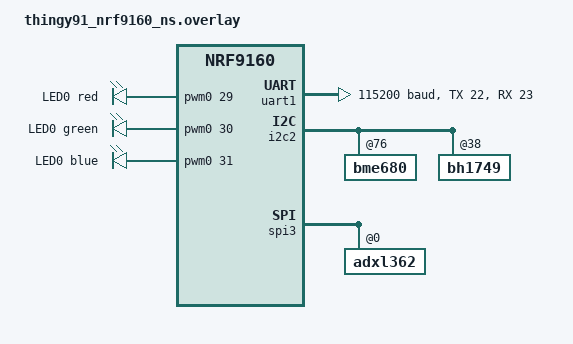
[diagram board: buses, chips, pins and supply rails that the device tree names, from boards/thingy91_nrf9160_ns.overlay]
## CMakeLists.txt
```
cmake_minimum_required(VERSION 3.20.0)

# We are only building for one board
set(BOARD thingy91_nrf9160_ns)

# If CONF_FILE is set then boards/${BOARD}.conf is not automatically merged anymore!
# Therefore only use OVERLAY_CONFIG
list(APPEND OVERLAY_CONFIG "overlay-credentials.conf")
list(APPEND OVERLAY_CONFIG "overlay-memfault.conf")
list(APPEND OVERLAY_CONFIG "overlay-watchdog.conf")

find_package(Zephyr REQUIRED HINTS $ENV{ZEPHYR_BASE})
project(heaty_nrf9160)

target_sources(app PRIVATE
	src/main.c
	src/control.c
	src/shell_commands.c
	)

target_sources_ifdef(CONFIG_SENSORS91_MODULE app PRIVATE
	src/sensors/sensors_module.c
	src/sensors/sensors_module_event.c
	)
	
target_sources_ifdef(CONFIG_ANALYSIS_MODULE app PRIVATE
	src/analysis/analysis_module.c
	src/analysis/analysis_module_event.c
	)
	
	
target_sources_ifdef(CONFIG_NRF_MODEM_LIB app PRIVATE
	src/https_client.c
	)

add_subdirectory_ifdef(CONFIG_USB_NRF9160_BRIDGE_AVAILABLE src/commCtrl/bridge/events)
add_subdirectory_ifdef(CONFIG_USB_NRF9160_BRIDGE_AVAILABLE src/commCtrl/bridge/modules)

target_sources_ifdef(CONFIG_COMMCTRL_MODULE app PRIVATE
	src/commCtrl/commCtrl_module.c
	src/commCtrl/commCtrl_module_event.c
	)

zephyr_library_include_directories(src/commCtrl/bridge/events)

add_subdirectory(../modules build)

zephyr_include_directories(../common)
zephyr_include_directories(config)
zephyr_include_directories(config/${BOARD})
zephyr_include_directories(src/sensors)
zephyr_include_directories(/opt/nordic/ncs/v1.8.0/nrfxlib/nrf_modem/include)
zephyr_include_directories(../nrf52840/src)
zephyr_include_directories(src)

# for some reason this is only applied if written in this top level CMakeLists.txt
# Did not work with the CMakeLists.txt in the lodepng module!
add_compile_definitions(
#	LODEPNG_NO_COMPILE_ZLIB 
#	LODEPNG_NO_COMPILE_DECODER 
	LODEPNG_NO_COMPILE_DISK 
	LODEPNG_NO_COMPILE_ANCILLARY_CHUNKS 
	LODEPNG_NO_COMPILE_ERROR_TEXT 
	LODEPNG_NO_COMPILE_ALLOCATORS
)

zephyr_library_compile_options(-Wall -Wextra -Wno-unused-parameter -Wno-unused-variable -Wno-comment)
```

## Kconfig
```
#
# Copyright (c) 2020 Nordic Semiconductor ASA
#
# SPDX-License-Identifier: LicenseRef-Nordic-5-Clause
#

rsource "../modules/Kconfig.myModules"

rsource "src/sensors/Kconfig.sensors_module"
rsource "src/analysis/Kconfig.analysis_module"


menu "Zephyr Kernel"
source "Kconfig.zephyr"
endmenu

module = HEATY
module-str = Heaty nrf9160
source "${ZEPHYR_BASE}/subsys/logging/Kconfig.template.log_config"
```

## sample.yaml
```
sample:
  description: Hello World sample, the simplest Zephyr
    application
  name: hello world
common:
    tags: introduction
    integration_platforms:
      - native_posix
    harness: console
    harness_config:
      type: one_line
      regex:
        - "Hello World! (.*)"
tests:
  sample.basic.helloworld:
    tags: introduction
  sample.basic.helloworld.uefi:
    platform_allow: thingy91_nrf9160_ns
    extra_args: CONF_FILE=prj_uefi.conf
```

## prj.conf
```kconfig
### General Configuration
#--------------------
CONFIG_DEBUG=y
CONFIG_USE_SEGGER_RTT=y
CONFIG_NEWLIB_LIBC=y
CONFIG_NEWLIB_LIBC_FLOAT_PRINTF=y
CONFIG_CBPRINTF_FP_SUPPORT=y
CONFIG_FPU=y
CONFIG_HW_STACK_PROTECTION=y
CONFIG_SPEED_OPTIMIZATIONS=y

CONFIG_CMSIS_DSP=y
CONFIG_CMSIS_DSP_STATISTICS=y

### Memory Configuration
#--------------------
# used by mcuboot and various services
CONFIG_SYSTEM_WORKQUEUE_STACK_SIZE=8096
CONFIG_MAIN_STACK_SIZE=4096
CONFIG_SHELL_STACK_SIZE=4096
#CONFIG_LOG_PROCESS_THREAD_STACK_SIZE=4096

CONFIG_HEAP_MEM_POOL_SIZE=46000

##############################
### Application features
##############################
CONFIG_BASE64=y
CONFIG_CJSON_LIB=y
CONFIG_LODEPNG=y
CONFIG_HEAP_MEMORY_STATISTICS=y
CONFIG_MCU_EXCHANGE_MODULE=y
CONFIG_ANALYSIS_MODULE=y
CONFIG_SENSORS91_MODULE=y

### Logging
#--------------------
CONFIG_LOG=y
CONFIG_LOG_BACKEND_UART=y
CONFIG_LOG2_MODE_IMMEDIATE=y
#CONFIG_LOG2_MODE_DEFERRED=y
#CONFIG_LOG_BUFFER_SIZE=2048


CONFIG_HEATY_LOG_LEVEL_DBG=y
CONFIG_SENSORS91_MODULE_LOG_LEVEL_DBG=y
CONFIG_ANALYSIS_MODULE_LOG_LEVEL_DBG=y
CONFIG_DIAG_LOG_LEVEL_DBG=y
CONFIG_MCU_EXCHANGE_MODULE_LOG_LEVEL_DBG=y
CONFIG_MQTT_MODULE_LOG_LEVEL_DBG=y
CONFIG_MEMORY_STAT_LOG_LEVEL_INF=y

CONFIG_CAF_INIT_LOG_SENSOR_EVENTS=y
CONFIG_SENSORS_EVENTS_LOG=y
CONFIG_ANALYSIS_EVENTS_LOG=y
CONFIG_MCU_EXCHANGE_EVENTS_LOG=y
CONFIG_MQTT_EVENTS_LOG=y
# to make "shell_uart: update." silent
CONFIG_LOG_DEFAULT_LEVEL=1


# may not be used together with CONFIG_SHELL_BACKEND_RTT as it would duplicate the log channel
CONFIG_LOG_BACKEND_RTT=y
CONFIG_SEGGER_RTT_BUFFER_SIZE_UP=1024


# Thread analyzer
CONFIG_THREAD_ANALYZER=y
CONFIG_THREAD_ANALYZER_USE_LOG=y
CONFIG_THREAD_ANALYZER_AUTO=y
CONFIG_THREAD_ANALYZER_AUTO_INTERVAL=3600
CONFIG_THREAD_ANALYZER_AUTO_STACK_SIZE=1024
CONFIG_THREAD_NAME=y
CONFIG_THREAD_RUNTIME_STATS=y


### Shell
#--------------------
CONFIG_SHELL=y
CONFIG_SHELL_ARGC_MAX=26
CONFIG_SHELL_CMD_BUFF_SIZE=416
CONFIG_SHELL_LOG_BACKEND=n
CONFIG_SHELL_BACKEND_RTT=n


### Event Manager
#--------------------
CONFIG_EVENT_MANAGER=y
CONFIG_LINKER_ORPHAN_SECTION_PLACE=y
CONFIG_REBOOT=y

CONFIG_CAF=y
# CONFIG_PWM=y, CONFIG_LED_PWM=y, CONFIG_CAF_LEDS_PWM=y in the board overlay
CONFIG_LED=y
CONFIG_LED_GPIO=y
CONFIG_CAF_LEDS=y
CONFIG_CAF_LEDS_GPIO=y
CONFIG_UART_CONSOLE=y
CONFIG_CAF_SENSOR_MANAGER=y

CONFIG_CAF_BUTTONS=y
CONFIG_CAF_BUTTONS_POLARITY_INVERSED=y

### Networking
#--------------------
CONFIG_NETWORKING=y
CONFIG_NET_NATIVE=n
CONFIG_NET_SOCKETS_OFFLOAD=y
CONFIG_NET_SOCKETS=y
CONFIG_NET_SOCKETS_POSIX_NAMES=y
CONFIG_NET_STATISTICS=y

# LTE link control
CONFIG_LTE_LINK_CONTROL=y
CONFIG_LTE_AUTO_INIT_AND_CONNECT=n
CONFIG_LTE_NETWORK_MODE_LTE_M_GPS=y
## Power saving timers.
CONFIG_LTE_PSM_REQ_RPTAU="11000001"
CONFIG_LTE_PSM_REQ_RAT="00001010"

# Modem library
CONFIG_NRF_MODEM_LIB=y
CONFIG_MODEM_KEY_MGMT=y







# Uart Serial
CONFIG_SERIAL=y
CONFIG_UART_INTERRUPT_DRIVEN=y

CONFIG_SPI=y
CONFIG_SENSOR=y
CONFIG_ADXL362=y
CONFIG_ADXL362_ACCEL_RANGE_2G=y
CONFIG_ADXL362_ACCEL_ODR_12_5=y
CONFIG_ADXL362_TRIGGER_GLOBAL_THREAD=y
CONFIG_ADXL362_INACTIVITY_THRESHOLD=0
CONFIG_ADXL362_ACTIVITY_THRESHOLD=110
CONFIG_ADXL362_ABS_REF_MODE=1
CONFIG_ADXL362_INTERRUPT_MODE=1

# BME680 - Temperature and humidity sensor.
CONFIG_BME680=y

CONFIG_BH1749=y



# MQTT
CONFIG_MQTT_MODULE=y
CONFIG_MQTT_LIB=y
CONFIG_MQTT_LIB_TLS=y
CONFIG_MQTT_KEEPALIVE=300
CONFIG_MQTT_TLS_PEER_VERIFY=2
CONFIG_MQTT_CLEAN_SESSION=y
CONFIG_MQTT_TLS_SESSION_CACHING=y
# If the key is unknown, find it out by "openssl s_client -showcerts -connect io.adafruit.com:8883"

# Application
CONFIG_MQTT_CLIENT_ID="6336d5a5-a96f-433c-a37e-79cbb8c18421"
CONFIG_MQTT_BROKER_HOSTNAME="io.adafruit.com"
CONFIG_MQTT_BROKER_PORT=8883

#CONFIG_AT_CMD_RESPONSE_MAX_LEN=3000





### DFU
#--------------------
CONFIG_BOOTLOADER_MCUBOOT=y

# MCU Manager and SMP configuration
CONFIG_MCUMGR=y
CONFIG_MCUMGR_CMD_IMG_MGMT=y
CONFIG_MCUMGR_CMD_OS_MGMT=y
CONFIG_MCUMGR_CMD_SHELL_MGMT=y
CONFIG_MCUMGR_BUF_COUNT=6

CONFIG_IMG_MGMT_UL_CHUNK_SIZE=900

CONFIG_MCUMGR_SMP_SHELL=y
CONFIG_MCUMGR_BUF_SIZE=1024
CONFIG_MCUMGR_SMP_SHELL_MTU=1022
CONFIG_MCUMGR_SMP_SHELL_RX_BUF_COUNT=4

CONFIG_SHELL_BACKEND_SERIAL=y
CONFIG_SHELL_BACKEND_SERIAL_INTERRUPT_DRIVEN=y
CONFIG_SHELL_BACKEND_SERIAL_TX_RING_BUFFER_SIZE=1024
CONFIG_SHELL_BACKEND_SERIAL_RX_RING_BUFFER_SIZE=1024
CONFIG_SHELL_BACKEND_DUMMY_BUF_SIZE=992


CONFIG_PDN_DEFAULTS_OVERRIDE=y
CONFIG_PDN_DEFAULT_APN="soracom.io"
CONFIG_PDN_DEFAULT_FAM_IPV4=y
CONFIG_PDN_DEFAULT_AUTH_PAP=y
CONFIG_PDN_DEFAULT_USERNAME="sora"
CONFIG_PDN_DEFAULT_PASSWORD="sora"
CONFIG_PDN_SYS_INIT=y
CONFIG_PDN=y
```

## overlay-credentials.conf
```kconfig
CONFIG_MEMFAULT_NCS_PROJECT_KEY="__REPLACE_ME__MEMFAULT_PROJECT_KEY"

CONFIG_MQTT_USER_NAME="__REPLACE_ME__MQTT_USER_NAME"
CONFIG_MQTT_PASSWORD="__REPLACE_ME__MQTT_PASSWORD"

CONFIG_MQTT_TOPIC_TEMPERATURE="__REPLACE_ME__MQTT_TOPIC_TEMPERATURE"
CONFIG_MQTT_TOPIC_HUMIDITY="__REPLACE_ME__MQTT_TOPIC_HUMIDITY"
CONFIG_MQTT_TOPIC_HEATMAP="__REPLACE_ME__MQTT_TOPIC_HEATMAP"
```

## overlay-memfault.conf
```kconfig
### Memfault
#--------------------

# General
CONFIG_MEMFAULT=y
CONFIG_MEMFAULT_SHELL=y
CONFIG_MEMFAULT_USER_CONFIG_ENABLE=y

# Device info
CONFIG_MEMFAULT_NCS_HW_VERSION="0.1.0+"
CONFIG_MEMFAULT_NCS_DEVICE_ID_STATIC=y
CONFIG_MEMFAULT_NCS_DEVICE_ID="9160"
#CONFIG_MEMFAULT_NCS_DEVICE_ID_RUNTIME=y
#CONFIG_MEMFAULT_NCS_DEVICE_ID_MAX_LEN=5
#CONFIG_MEMFAULT_DEVICE_ID="9160"
CONFIG_MEMFAULT_NCS_FW_TYPE="heaty"
CONFIG_MEMFAULT_NCS_FW_VERSION_PREFIX="0.1.0+"
CONFIG_MEMFAULT_NCS_FW_VERSION_AUTO=y

# Switch http on
CONFIG_MEMFAULT_HTTP_ENABLE=y
CONFIG_MEMFAULT_HTTP_PERIODIC_UPLOAD=n
#CONFIG_MEMFAULT_HTTP_PERIODIC_UPLOAD_INTERVAL_SECS=3600
CONFIG_MEMFAULT_ROOT_CERT_STORAGE_NRF9160_MODEM=y
CONFIG_MEMFAULT_NCS_PROVISION_CERTIFICATES=y
CONFIG_MODEM_KEY_MGMT=y

# Collected metris
CONFIG_MEMFAULT_METRICS=y
CONFIG_MEMFAULT_METRICS_DEFAULT_SET_ENABLE=y
CONFIG_MEMFAULT_METRICS_EXTRA_DEFS_FILE=y
CONFIG_MEMFAULT_NCS_STACK_METRICS=y
CONFIG_MEMFAULT_NCS_LTE_METRICS=y

# Include logging
CONFIG_MEMFAULT_LOGGING_ENABLE=y
CONFIG_MEMFAULT_LOGGING_RAM_SIZE=1024

# Store coredump to flash
CONFIG_MEMFAULT_COREDUMP_COLLECT_BSS_REGIONS=y
CONFIG_MEMFAULT_COREDUMP_COLLECT_DATA_REGIONS=y
CONFIG_MEMFAULT_NCS_INTERNAL_FLASH_BACKED_COREDUMP=y

# Dependencies for flash
CONFIG_FLASH=y
CONFIG_IMG_MANAGER=y

CONFIG_BOOTLOADER_MCUBOOT=y
CONFIG_MCUBOOT_IMG_MANAGER=y

# Dependencies other
CONFIG_NEWLIB_LIBC=y
CONFIG_BASE64=y
```

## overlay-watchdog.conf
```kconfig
### Watchdog
#--------------------
CONFIG_WATCHDOG=y
CONFIG_TASK_WDT=y
CONFIG_TASK_WDT_HW_FALLBACK=y
CONFIG_TASK_WDT_MIN_TIMEOUT=2000
CONFIG_TASK_WDT_HW_FALLBACK_DELAY=1000
CONFIG_TASK_WDT_CHANNELS=2
CONFIG_WATCHDOG_TIMER_MAIN_CHANNEL=2000
CONFIG_WATCHDOG_TIMER_MCU_COMM_CHANNEL=20000
# not used in nrfx backend
# CONFIG_WDT_DISABLE_AT_BOOT=y
```

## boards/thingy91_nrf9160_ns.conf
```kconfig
# CAF - Common Application Framework
CONFIG_PWM=y
CONFIG_LED_PWM=y
CONFIG_CAF_LEDS_PWM=y
```

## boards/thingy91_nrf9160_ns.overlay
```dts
/*
 * This code is based on the asset_tracker_v2 overlay which has the below license
 * nrf/applications/asset_tracker_v2/boards
 * 
 * Copyright (c) 2020 Nordic Semiconductor ASA
 *
 * SPDX-License-Identifier: LicenseRef-Nordic-5-Clause
 */

/ {
	chosen {
		zephyr,console = &uart0;
		zephyr,shell-uart = &uart0;
	};
	aliases {
		temp-sensor = &bme680;
		humidity-sensor = &bme680;
		accelerometer = &adxl362;
	};

	pwmleds0 {
		compatible = "pwm-leds";
		status = "okay";
		pwm_led0: led_pwm_0 {
			status = "okay";
			pwms = <&pwm0 29>;
			label = "LED0 red";
		};
		pwm_led1: led_pwm_1 {
			status = "okay";
			pwms = <&pwm0 30>;
			label = "LED0 green";
		};
		pwm_led2: led_pwm_2 {
			status = "okay";
			pwms = <&pwm0 31>;
			label = "LED0 blue";
		};
	};

};

/*
&uart0 {
	compatible = "nordic,nrf-uarte";
	current-speed = <115200>;
	status = "okay";
	tx-pin = <18>;
	rx-pin = <19>;
//	/delete-property/ rts-pin;
//	/delete-property/ cts-pin;
};
 */
 
&uart1 {
	current-speed = <115200>;
	status = "okay";
	tx-pin = <22>;
	rx-pin = <23>;
//	/delete-property/ rts-pin;
//	/delete-property/ cts-pin;
};

/* Below is not necessary as already defined */
&i2c2 {
	bme680: bme680@76 {};
	bh1749: bh1749@38 {};
};

&spi3 {
	adxl362: adxl362@0 {};
};
```

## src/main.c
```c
#define MODULE main

#ifdef CONFIG_BOOTLOADER_MCUBOOT
#include <dfu/mcuboot.h>
#endif

#ifdef CONFIG_MCUMGR_CMD_SHELL_MGMT
#include "shell_mgmt/shell_mgmt.h"
#endif
#ifdef CONFIG_MCUMGR_CMD_OS_MGMT
#include "os_mgmt/os_mgmt.h"
#endif
#ifdef CONFIG_MCUMGR_CMD_IMG_MGMT
#include "img_mgmt/img_mgmt.h"
#endif

#ifdef CONFIG_MEMFAULT
#include <memfault/core/trace_event.h>
#ifdef CONFIG_NRF_MODEM_LIB
#include "common/diag.h"
#include <memfault/http/http_client.h>
#include <memfault/metrics/metrics.h>
#include "memfault/ports/zephyr/http.h"
#endif
#endif

#ifdef CONFIG_NRF_MODEM_LIB
#include <modem/lte_lc.h>
#endif

#include <caf/events/module_state_event.h>
#include <event_manager.h>
#include <logging/log.h>
#include <zephyr.h>

#include "common/modules_common.h"
#include "utils.h"
#include "watchdog/watchdog.h"

#ifdef CONFIG_USB_DEVICE_STACK
#include "usb_console.h"
#endif

LOG_MODULE_REGISTER(MODULE, CONFIG_HEATY_LOG_LEVEL);

void sendReady() {
    module_set_state(MODULE_STATE_READY);
}

#ifdef CONFIG_MODEM_KEY_MGMT
#include "adafruit_certificates.h"
#include "mqtt/mqtt_client.h"
#include "https_client.h"

static sec_tag_t adafruit_tls_sec_tag[] = {kAdafruitRootCert_DigicertRootCa,
                                           kAdafruitRootCert_DigicertGeotrustCa,
                                           kAdafruitRootCert_Adafruit};

static const char* adafruit_certs[] = {ADAFRUIT_CERTS_PEM};
#endif

#ifdef CONFIG_NRF_MODEM_LIB
static int connect_lte() {
  LOG_DBG("Waiting for network.. ");
  int err = lte_lc_init_and_connect();
  if (err) {
    LOG_ERR("Failed to connect to the LTE network, err %d", err);
    return 1;
  }
  send_led_event(LED_EVENT_CONNECTED);
  return 0;
}
#endif

void main(void) {
#ifdef CONFIG_USB_DEVICE_STACK
  enable_usb_console();
#endif

#ifdef CONFIG_BOOTLOADER_MCUBOOT
  /* Check if the image is run in the REVERT mode and eventually
   * confirm it to prevent reverting on the next boot.
   */
  if (mcuboot_swap_type() == BOOT_SWAP_TYPE_REVERT) {
    if (boot_write_img_confirmed()) {
      LOG_ERR(
          "Confirming firmware image failed, it will be reverted on the next "
          "boot.");
    } else {
      LOG_INF("New device firmware image confirmed.");
    }
  }
#endif

#ifdef CONFIG_MCUMGR_CMD_SHELL_MGMT
  shell_mgmt_register_group();
#endif
#ifdef CONFIG_MCUMGR_CMD_OS_MGMT
  os_mgmt_register_group();
#endif
#ifdef CONFIG_MCUMGR_CMD_IMG_MGMT
  img_mgmt_register_group();
#endif

  LOG_INF("Hello World! %s\n", CONFIG_BOARD);
  LOG_INF("build time: " __DATE__ " " __TIME__);

  init_utils();

#ifdef CONFIG_CAF_LEDS
  send_led_event(LED_EVENT_STARTUP);
#endif

#ifdef CONFIG_MODEM_KEY_MGMT
  cert_provision(adafruit_tls_sec_tag, adafruit_certs,
                 sizeof(adafruit_tls_sec_tag) / sizeof(adafruit_tls_sec_tag[0]));
#endif

#ifdef CONFIG_NRF_MODEM_LIB
  connect_lte();
#endif

#ifdef CONFIG_MEMFAULT
#ifdef CONFIG_NRF_MODEM_LIB
  memfault_zephyr_port_post_data();
#endif
#endif

  if (event_manager_init()) {
    LOG_ERR("Event manager not initialized");

  } else {
#ifndef CONFIG_WAIT_FOR_MANUAL_START
    sendReady();
#endif
  }
#ifdef CONFIG_WATCHDOG
  init_and_start_watchdog();
#endif
}
```

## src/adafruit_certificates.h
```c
#pragma once

#include <stddef.h>
#include <stdint.h>

#ifdef __cplusplus
extern "C" {
#endif

//! DigiCert Global Root CA. SHA-1/RSA-256. Valid until 2031-10-11.
#define ADAFRUIT_CERTS_DIGICERT_GLOBAL_ROOT_CA                         \
  "-----BEGIN CERTIFICATE-----\n"                                      \
  "MIIDrzCCApegAwIBAgIQCDvgVpBCRrGhdWrJWZHHSjANBgkqhkiG9w0BAQUFADBh\n" \
  "MQswCQYDVQQGEwJVUzEVMBMGA1UEChMMRGlnaUNlcnQgSW5jMRkwFwYDVQQLExB3\n" \
  "d3cuZGlnaWNlcnQuY29tMSAwHgYDVQQDExdEaWdpQ2VydCBHbG9iYWwgUm9vdCBD\n" \
  "QTAeFw0wNjExMTAwMDAwMDBaFw0zMTExMTAwMDAwMDBaMGExCzAJBgNVBAYTAlVT\n" \
  "MRUwEwYDVQQKEwxEaWdpQ2VydCBJbmMxGTAXBgNVBAsTEHd3dy5kaWdpY2VydC5j\n" \
  "b20xIDAeBgNVBAMTF0RpZ2lDZXJ0IEdsb2JhbCBSb290IENBMIIBIjANBgkqhkiG\n" \
  "9w0BAQEFAAOCAQ8AMIIBCgKCAQEA4jvhEXLeqKTTo1eqUKKPC3eQyaKl7hLOllsB\n" \
  "CSDMAZOnTjC3U/dDxGkAV53ijSLdhwZAAIEJzs4bg7/fzTtxRuLWZscFs3YnFo97\n" \
  "nh6Vfe63SKMI2tavegw5BmV/Sl0fvBf4q77uKNd0f3p4mVmFaG5cIzJLv07A6Fpt\n" \
  "43C/dxC//AH2hdmoRBBYMql1GNXRor5H4idq9Joz+EkIYIvUX7Q6hL+hqkpMfT7P\n" \
  "T19sdl6gSzeRntwi5m3OFBqOasv+zbMUZBfHWymeMr/y7vrTC0LUq7dBMtoM1O/4\n" \
  "gdW7jVg/tRvoSSiicNoxBN33shbyTApOB6jtSj1etX+jkMOvJwIDAQABo2MwYTAO\n" \
  "BgNVHQ8BAf8EBAMCAYYwDwYDVR0TAQH/BAUwAwEB/zAdBgNVHQ4EFgQUA95QNVbR\n" \
  "TLtm8KPiGxvDl7I90VUwHwYDVR0jBBgwFoAUA95QNVbRTLtm8KPiGxvDl7I90VUw\n" \
  "DQYJKoZIhvcNAQEFBQADggEBAMucN6pIExIK+t1EnE9SsPTfrgT1eXkIoyQY/Esr\n" \
  "hMAtudXH/vTBH1jLuG2cenTnmCmrEbXjcKChzUyImZOMkXDiqw8cvpOp/2PV5Adg\n" \
  "06O/nVsJ8dWO41P0jmP6P6fbtGbfYmbW0W5BjfIttep3Sp+dWOIrWcBAI+0tKIJF\n" \
  "PnlUkiaY4IBIqDfv8NZ5YBberOgOzW6sRBc4L0na4UU+Krk2U886UAb3LujEV0ls\n" \
  "YSEY1QSteDwsOoBrp+uvFRTp2InBuThs4pFsiv9kuXclVzDAGySj4dzp30d8tbQk\n" \
  "CAUw7C29C79Fv1C5qfPrmAESrciIxpg0X40KPMbp1ZWVbd4=\n"                 \
  "-----END CERTIFICATE-----\n"

//! DigiCert Global Root G2. SHA-1/RSA-256. Valid until 2038-01-15.
#define ADAFRUIT_CERTS_DIGICERT_GEOTRUST_RSA_CA_2018                   \
  "-----BEGIN CERTIFICATE-----\n"                                      \
  "MIIEizCCA3OgAwIBAgIQBUb+GCP34ZQdo5/OFMRhczANBgkqhkiG9w0BAQsFADBh\n" \
  "MQswCQYDVQQGEwJVUzEVMBMGA1UEChMMRGlnaUNlcnQgSW5jMRkwFwYDVQQLExB3\n" \
  "d3cuZGlnaWNlcnQuY29tMSAwHgYDVQQDExdEaWdpQ2VydCBHbG9iYWwgUm9vdCBD\n" \
  "QTAeFw0xNzExMDYxMjIzNDVaFw0yNzExMDYxMjIzNDVaMF4xCzAJBgNVBAYTAlVT\n" \
  "MRUwEwYDVQQKEwxEaWdpQ2VydCBJbmMxGTAXBgNVBAsTEHd3dy5kaWdpY2VydC5j\n" \
  "b20xHTAbBgNVBAMTFEdlb1RydXN0IFJTQSBDQSAyMDE4MIIBIjANBgkqhkiG9w0B\n" \
  "AQEFAAOCAQ8AMIIBCgKCAQEAv4rRY03hGOqHXegWPI9/tr6HFzekDPgxP59FVEAh\n" \
  "150Hm8oDI0q9m+2FAmM/n4W57Cjv8oYi2/hNVEHFtEJ/zzMXAQ6CkFLTxzSkwaEB\n" \
  "2jKgQK0fWeQz/KDDlqxobNPomXOMJhB3y7c/OTLo0lko7geG4gk7hfiqafapa59Y\n" \
  "rXLIW4dmrgjgdPstU0Nigz2PhUwRl9we/FAwuIMIMl5cXMThdSBK66XWdS3cLX18\n" \
  "4ND+fHWhTkAChJrZDVouoKzzNYoq6tZaWmyOLKv23v14RyZ5eqoi6qnmcRID0/i6\n" \
  "U9J5nL1krPYbY7tNjzgC+PBXXcWqJVoMXcUw/iBTGWzpwwIDAQABo4IBQDCCATww\n" \
  "HQYDVR0OBBYEFJBY/7CcdahRVHex7fKjQxY4nmzFMB8GA1UdIwQYMBaAFAPeUDVW\n" \
  "0Uy7ZvCj4hsbw5eyPdFVMA4GA1UdDwEB/wQEAwIBhjAdBgNVHSUEFjAUBggrBgEF\n" \
  "BQcDAQYIKwYBBQUHAwIwEgYDVR0TAQH/BAgwBgEB/wIBADA0BggrBgEFBQcBAQQo\n" \
  "MCYwJAYIKwYBBQUHMAGGGGh0dHA6Ly9vY3NwLmRpZ2ljZXJ0LmNvbTBCBgNVHR8E\n" \
  "OzA5MDegNaAzhjFodHRwOi8vY3JsMy5kaWdpY2VydC5jb20vRGlnaUNlcnRHbG9i\n" \
  "YWxSb290Q0EuY3JsMD0GA1UdIAQ2MDQwMgYEVR0gADAqMCgGCCsGAQUFBwIBFhxo\n" \
  "dHRwczovL3d3dy5kaWdpY2VydC5jb20vQ1BTMA0GCSqGSIb3DQEBCwUAA4IBAQAw\n" \
  "8YdVPYQI/C5earp80s3VLOO+AtpdiXft9OlWwJLwKlUtRfccKj8QW/Pp4b7h6QAl\n" \
  "ufejwQMb455OjpIbCZVS+awY/R8pAYsXCnM09GcSVe4ivMswyoCZP/vPEn/LPRhH\n" \
  "hdgUPk8MlD979RGoUWz7qGAwqJChi28uRds3thx+vRZZIbEyZ62No0tJPzsSGSz8\n" \
  "nQ//jP8BIwrzBAUH5WcBAbmvgWfrKcuv+PyGPqRcc4T55TlzrBnzAzZ3oClo9fTv\n" \
  "O9PuiHMKrC6V6mgi0s2sa/gbXlPCD9Z24XUMxJElwIVTDuKB0Q4YMMlnpN/QChJ4\n" \
  "B0AFsQ+DU0NCO+f78Xf7\n"                                             \
  "-----END CERTIFICATE-----\n"

//! Baltimore CyberTrust Root. Valid until 2025-05-12.
#define ADAFRUIT_CERTS_ADAFRUIT                                        \
  "-----BEGIN CERTIFICATE-----\n"                                      \
  "MIIGijCCBXKgAwIBAgIQAfUXR/1IrnlbCX0+CKqtnDANBgkqhkiG9w0BAQsFADBe\n" \
  "MQswCQYDVQQGEwJVUzEVMBMGA1UEChMMRGlnaUNlcnQgSW5jMRkwFwYDVQQLExB3\n" \
  "d3cuZGlnaWNlcnQuY29tMR0wGwYDVQQDExRHZW9UcnVzdCBSU0EgQ0EgMjAxODAe\n" \
  "Fw0yMDA2MTgwMDAwMDBaFw0yMjA5MDExMjAwMDBaMG4xCzAJBgNVBAYTAlVTMREw\n" \
  "DwYDVQQIEwhOZXcgWW9yazERMA8GA1UEBxMITmV3IFlvcmsxIDAeBgNVBAoTF0Fk\n" \
  "YWZydWl0IEluZHVzdHJpZXMgTExDMRcwFQYDVQQDDA4qLmFkYWZydWl0LmNvbTCC\n" \
  "ASIwDQYJKoZIhvcNAQEBBQADggEPADCCAQoCggEBAMbW8pXtrCk9RpHdtHRfKx7A\n" \
  "gQjH6KMalaUOjeMxI2mqk5oyF/399FQWky/10oeLohivyIv5uror1w0TVon/H946\n" \
  "LlTKhT3sbYrpAVDZsfybZF3qD/Sld6kAb0rdb5/TADc0Qy3J0ciCZ6oM3FSDyS7G\n" \
  "YnsQ1scw5z82H0unA4ZQQJ1uwa0uIWkpCXyRyb6pidyAj06V7q03EtIQgn8iufV4\n" \
  "uncONkp0HVQcuS3uk6RRP26QcdYqBl3OOYHgHeIbANLXgEUDm6cihhPqYRvIFi5j\n" \
  "ZlmFfEFLvnTgC88iMijCQopaLhWIBos+1lvQT5wzIU/Wj+aqvpWRT05FW4pH/zkC\n" \
  "AwEAAaOCAzIwggMuMB8GA1UdIwQYMBaAFJBY/7CcdahRVHex7fKjQxY4nmzFMB0G\n" \
  "A1UdDgQWBBTPR/O8QzK2xZ7BH/rN1NLmMNtyizAnBgNVHREEIDAegg4qLmFkYWZy\n" \
  "dWl0LmNvbYIMYWRhZnJ1aXQuY29tMA4GA1UdDwEB/wQEAwIFoDAdBgNVHSUEFjAU\n" \
  "BggrBgEFBQcDAQYIKwYBBQUHAwIwPgYDVR0fBDcwNTAzoDGgL4YtaHR0cDovL2Nk\n" \
  "cC5nZW90cnVzdC5jb20vR2VvVHJ1c3RSU0FDQTIwMTguY3JsMEwGA1UdIARFMEMw\n" \
  "NwYJYIZIAYb9bAEBMCowKAYIKwYBBQUHAgEWHGh0dHBzOi8vd3d3LmRpZ2ljZXJ0\n" \
  "LmNvbS9DUFMwCAYGZ4EMAQICMHUGCCsGAQUFBwEBBGkwZzAmBggrBgEFBQcwAYYa\n" \
  "aHR0cDovL3N0YXR1cy5nZW90cnVzdC5jb20wPQYIKwYBBQUHMAKGMWh0dHA6Ly9j\n" \
  "YWNlcnRzLmdlb3RydXN0LmNvbS9HZW9UcnVzdFJTQUNBMjAxOC5jcnQwDAYDVR0T\n" \
  "AQH/BAIwADCCAX8GCisGAQQB1nkCBAIEggFvBIIBawFpAHcAKXm+8J45OSHwVnOf\n" \
  "Y6V35b5XfZxgCvj5TV0mXCVdx4QAAAFyyKMnsAAABAMASDBGAiEApqsw2Iokda11\n" \
  "fM2fTA+H4ofSYCaBRUVm4L+DXaldU6ACIQC550v/HYDLUp6a9gugs+tajI/S/9bn\n" \
  "SDtfF05IROsOAAB2ACJFRQdZVSRWlj+hL/H3bYbgIyZjrcBLf13Gg1xu4g8CAAAB\n" \
  "csijJ6AAAAQDAEcwRQIgJRF0L+7t63eMG/e3kgVKU5rpEZ+A0WUh4A1Wuo8frvoC\n" \
  "IQCXj00F2+sTmK1BKo/I1nqOYeaQHeMtlKCJkunJKGannwB2AFGjsPX9AXmcVm24\n" \
  "N3iPDKR6zBsny/eeiEKaDf7UiwXlAAABcsijJ+cAAAQDAEcwRQIgItT1DYXAx2uy\n" \
  "z1NToQOFqJ2UIL+Dm0nVG40QHL/GVJsCIQCLiBO9MS2PLM/wmufSomt/SDhbLwKF\n" \
  "BU9RP8O1qbtV9TANBgkqhkiG9w0BAQsFAAOCAQEANfsWhI00ONyqz5DtuFRxxx4i\n" \
  "ApmyW7PbQr+9lZuNzkqieNIt/VuCyNIKZEBJ3PA/2QfwvXdIpjE6M7yz+9kh9WdR\n" \
  "Rg6qj6hPp2gvSQQrk361RY/sTtueAh4re8yyJDebH3B60kUwzNmMms7zcxQ0Ctvg\n" \
  "/BDPVBd1VFF/tsoYO4P5iMar1YCl8BNozu6q4JP2E0HRygZD0U7vY2Gsi1wHdm5h\n" \
  "VZnLJq6SRTbYUWY3tryEp2lJYQFiSoVfu5icebrLUVRmSl05PyYstjFekb9DCNyy\n" \
  "LIBZsjmaFJoJCGo1y5cSqBYfwSsrq1aD9hn5LFeEVG+PEa10IlVv7l+33mLWZA==\n" \
  "-----END CERTIFICATE-----\n"

#define ADAFRUIT_CERTS_PEM                     \
  ADAFRUIT_CERTS_DIGICERT_GLOBAL_ROOT_CA,       \
  ADAFRUIT_CERTS_DIGICERT_GEOTRUST_RSA_CA_2018, \
  ADAFRUIT_CERTS_ADAFRUIT,

typedef enum {
  // arbitrarily high base so as not to conflict with id used for other certs in use by the system
  kAdafruitRootCert_DigicertRootCa = 1001, // the same as kMemfaultRootCert_DigicertRootCa
  kAdafruitRootCert_DigicertGeotrustCa = 1011,
  kAdafruitRootCert_Adafruit = 24,
  // Must be last, used to track number of root certs in use
  kAdafruitRootCert_MaxIndex,
} eAdafruitRootCert;

#ifdef __cplusplus
}
#endif
```

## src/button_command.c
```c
/*
 * The module architecture (using states, message queue in a separate thread, using events for communication)
 * is based on the Application Event Manager as used in the Asset Tracker v2 Application which has the below license.
 * https://developer.nordicsemi.com/nRF_Connect_SDK/doc/latest/nrf/libraries/others/app_event_manager.html#app-event-manager
 * https://developer.nordicsemi.com/nRF_Connect_SDK/doc/latest/nrf/applications/asset_tracker_v2/README.html
 * 
 * Copyright (c) 2021 Nordic Semiconductor ASA
 *
 * SPDX-License-Identifier: LicenseRef-Nordic-5-Clause
 */

#if defined CONFIG_CAF_BUTTONS

#define MODULE button_command

#include <event_manager.h>

#include <caf/events/button_event.h>
#include <logging/log.h>

#include "utils.h"
#include "common/modules_common.h"
LOG_MODULE_REGISTER(MODULE, CONFIG_HEATY_LOG_LEVEL);

enum button_id {
    BUTTON_ID_0,
    BUTTON_ID_COUNT
};

static bool handle_button_event(const struct button_event *evt) {
  LOG_DBG("button_event pressed:%d, key_id:%d", evt->pressed, evt->key_id);
  if (evt->pressed) {
    switch (evt->key_id) {
      case BUTTON_ID_0:
        send_led_event(LED_TEST_BLUE);
        break;
      default:
        break;
    }
  } else {
    switch (evt->key_id) {
      case BUTTON_ID_0:
        send_led_event(LED_OFF);
        break;
      default:
        break;
    }
  }

  return false;
}

static bool event_handler(const struct event_header *eh) {
  LOG_DBG("event_handler");
  if (is_button_event(eh)) {
    LOG_DBG("event_handler is_button_event");
    struct button_event *event = cast_button_event(eh);
    handle_button_event(event);
  }
  return false;
}

EVENT_LISTENER(MODULE, event_handler);
EVENT_SUBSCRIBE(MODULE, button_event);
#endif
```

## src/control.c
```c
#define MODULE control_module

#include <event_manager.h>
#include <logging/log.h>
#ifdef CONFIG_CAF_BUTTONS
#include <caf/events/button_event.h>
#endif
#include "mcu_exchange/mcu_exchange_module_event.h"
#include "utils.h"

LOG_MODULE_REGISTER(MODULE, CONFIG_HEATY_LOG_LEVEL);

static bool handle_mcu_exchange_module_event(const struct mcu_exchange_module_event* event) {
  if (event->type == MCU_EXCHANGE_EVT_ERROR) {
    send_led_event(LED_STATE_ERROR);
  }
  return false;
}

#ifdef CONFIG_CAF_BUTTONS
enum button_id { BUTTON_ID_0, BUTTON_ID_COUNT };

static bool handle_button_event(const struct button_event* evt) {
  LOG_DBG("button_event pressed:%d, key_id:%d", evt->pressed, evt->key_id);
  if (evt->pressed) {
    switch (evt->key_id) {
      case BUTTON_ID_0:
        send_led_event(LED_TEST_BLUE);
        struct mcu_exchange_module_event* event = new_mcu_exchange_module_event(0);
        event->type = MCU_EXCHANGE_EVT_BUTTON;
        EVENT_SUBMIT(event);
        break;
      default:
        break;
    }
  } else {
    switch (evt->key_id) {
      case BUTTON_ID_0:
        send_led_event(LED_OFF);
        break;
      default:
        break;
    }
  }

  return false;
}
#endif

static bool event_handler(const struct event_header* eh) {
  if (is_mcu_exchange_module_event(eh)) {
    return handle_mcu_exchange_module_event(cast_mcu_exchange_module_event(eh));
  }
#ifdef CONFIG_CAF_BUTTONS
  if (is_button_event(eh)) {
    return handle_button_event(cast_button_event(eh));
  }
#endif
  LOG_WRN("unhandled event.");
  return false;
}

EVENT_LISTENER(MODULE, event_handler);
#ifdef CONFIG_CAF_BUTTONS
EVENT_SUBSCRIBE(MODULE, button_event);
#endif
EVENT_SUBSCRIBE(MODULE, mcu_exchange_module_event);
```

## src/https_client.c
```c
/*
 * This code is based on the nRF9160: HTTPS Client sample which has the below license
 * https://developer.nordicsemi.com/nRF_Connect_SDK/doc/latest/nrf/samples/nrf9160/https_client/README.html
 * 
 * Copyright (c) 2020 Nordic Semiconductor ASA
 *
 * SPDX-License-Identifier: LicenseRef-Nordic-5-Clause
 */

#define MODULE https_client

#include <logging/log.h>
#include <modem/modem_key_mgmt.h>
#pragma GCC diagnostic ignored "-Wignored-qualifiers"
#include <net/socket.h>
#pragma GCC diagnostic pop    
#include <net/tls_credentials.h>
#include <stdio.h>
#include <string.h>
#include <zephyr.h>
LOG_MODULE_REGISTER(MODULE, CONFIG_HEATY_LOG_LEVEL);

#include <modem/lte_lc.h>

#include "https_client.h"
#include "memfault/http/root_certs.h"
#include "memfault/ports/zephyr/http.h"
#include "common/memory_hook.h"

// Setup TLS options on a given socket
// provisioning is expected to be done on startup within memfault_zephyr_port_install_root_certs
int tls_setup(int fd, const char* hostname, sec_tag_t* tls_sec_tag, socklen_t tls_sec_tag_len) {
  int err;
  int verify;

  /* Set up TLS peer verification */
  enum {
    NONE = 0,
    OPTIONAL = 1,
    REQUIRED = 2,
  };

  verify = REQUIRED;

  err = setsockopt(fd, SOL_TLS, TLS_PEER_VERIFY, &verify, sizeof(verify));
  if (err) {
    LOG_DBG("Failed to setup peer verification, err %d", errno);
    return err;
  }

  /* Associate the socket with the security tag
   * we have provisioned the certificate with.
   */
  err = setsockopt(fd, SOL_TLS, TLS_SEC_TAG_LIST, tls_sec_tag, tls_sec_tag_len);
  if (err) {
    LOG_DBG("Failed to setup TLS sec tag, err %d", errno);
    return err;
  }

  err = setsockopt(fd, SOL_TLS, TLS_HOSTNAME, hostname, strlen(hostname) + 1);
  if (err) {
    LOG_DBG("Failed to setup TLS hostname, err %d", errno);
    return err;
  }
  return 0;
}

#define HEADER_BUF_SIZE 300

const char* createHeader(const char* device_serial, const char* hostname, const char* project_key,
                         size_t len) {
  uint8_t* buffer = my_malloc(HEADER_BUF_SIZE, HEAP_MEMORY_STATISTICS_ID_HTTPS_CLIENT_HEADER);
  size_t msg_len = (size_t)snprintf(buffer, HEADER_BUF_SIZE, "POST /api/v0/chunks/%s HTTP/1.1\r\n",
                                    device_serial);
  msg_len += (size_t)snprintf(buffer + msg_len, HEADER_BUF_SIZE - msg_len, "Host:%s\r\n", hostname);
  msg_len +=
      (size_t)snprintf(buffer + msg_len, HEADER_BUF_SIZE - msg_len,
                       "User-Agent: MemfaultSDK/0.4.2\r\nMemfault-Project-Key:%s\r\n", project_key);
  msg_len += (size_t)snprintf(buffer + msg_len, HEADER_BUF_SIZE - msg_len,
                              "Content-Type:application/octet-stream\r\n");
  msg_len += (size_t)snprintf(buffer + msg_len, HEADER_BUF_SIZE - msg_len,
                              "Content-Length:%d\r\n\r\n", len);
  return buffer;
}

// send_memfault_https("chunks.memfault.com", )
#define HTTPS_PORT 443

int sendData(int fd, const char* data, size_t len) {
  int bytes;
  size_t off = 0;
  do {
    bytes = send(fd, &data[off], len - off, 0);
    if (bytes < 0) {
      LOG_ERR("send() failed, err %d", errno);
      return -1;
    }
    off += bytes;
  } while (off < len);
  return off;
}

int connectToHttps(const char* hostname, sec_tag_t* tls_sec_tags, socklen_t tls_sec_tags_len) {
  int err;
  int fd;
  struct addrinfo* res;
  struct addrinfo hints = {
      .ai_family = AF_INET,
      .ai_socktype = SOCK_STREAM,
  };

  //  char port[10] = { 0 };
  //  snprintf(port, sizeof(port), "%d", port_num);
  //  err = getaddrinfo(hostname, port, &hints, &res);

  err = getaddrinfo(hostname, NULL, &hints, &res);
  if (err) {
    LOG_ERR("getaddrinfo() failed, err %d", errno);
    goto clean_up;
  }

  ((struct sockaddr_in*)res->ai_addr)->sin_port = htons(HTTPS_PORT);

  // nonsecure would be IPPROTO_TCP
  fd = socket(res->ai_family, res->ai_socktype, IPPROTO_TLS_1_2);

  if (fd < 0) {
    LOG_ERR("Failed to open socket!");
    goto clean_up;
  }

  /* Setup TLS socket options */
  err = tls_setup(fd, hostname, tls_sec_tags, tls_sec_tags_len);
  if (err) {
    goto clean_up;
  }

  LOG_DBG("Connecting to %s", hostname);
  err = connect(fd, res->ai_addr, sizeof(struct sockaddr_in));
  if (err) {
    LOG_ERR("connect() failed, err: %d", errno);
    goto clean_up;
  }

  return 0;

clean_up:
  freeaddrinfo(res);
  return -1;
}

#define RECV_BUF_SIZE 2048
static char recv_buf[RECV_BUF_SIZE];

int handleResponse(int fd) {
  int bytes;
  size_t off = 0;
  do {
    bytes = recv(fd, &recv_buf[off], RECV_BUF_SIZE - off, 0);
    if (bytes < 0) {
      LOG_ERR("recv() failed, err %d", errno);
      return -1;
    }
    off += bytes;
  } while (bytes != 0 /* peer closed connection */);

  LOG_DBG("Received %d bytes", off);

  /* Print HTTP response */
  char* p = strstr(recv_buf, "");
  if (p) {
    off = p - recv_buf;
    recv_buf[off + 1] = '\0';
    LOG_DBG("%s", recv_buf);
  }

  return 0;
}

int cert_provision(sec_tag_t* tls_sec_tags, const char** certs, size_t len) {
  int err;
  bool exists;
  int mismatch;

#pragma GCC diagnostic ignored "-Wsign-compare"        
for (sec_tag_t cert_id_idx = 0; cert_id_idx < len; cert_id_idx++) {
#pragma GCC diagnostic pop     
    sec_tag_t cert_id = tls_sec_tags[cert_id_idx];
    const char* cert = certs[cert_id_idx];

    err = modem_key_mgmt_exists(cert_id, MODEM_KEY_MGMT_CRED_TYPE_CA_CHAIN, &exists);
    if (err) {
      LOG_DBG("Failed to check for certificates err %d", err);
      return err;
    }

    if (exists) {
      mismatch = modem_key_mgmt_cmp(cert_id, MODEM_KEY_MGMT_CRED_TYPE_CA_CHAIN, cert, strlen(cert));
      if (!mismatch) {
        LOG_DBG("Certificate match");
        continue;
      }

      LOG_DBG("Certificate mismatch");
      err = modem_key_mgmt_delete(cert_id, MODEM_KEY_MGMT_CRED_TYPE_CA_CHAIN);
      if (err) {
        LOG_DBG("Failed to delete existing certificate, err %d", err);
        return err;
      }
    }

    LOG_DBG("Provisioning certificate");

    /*  Provision certificate to the modem */
    err = modem_key_mgmt_write(cert_id, MODEM_KEY_MGMT_CRED_TYPE_CA_CHAIN, cert, strlen(cert));
    if (err) {
      LOG_DBG("Failed to provision certificate, err %d", err);
      return err;
    }
  }
  return 0;
}

void send_memfault_https(const char* hostname, const int port, sec_tag_t* tls_sec_tags,
                         socklen_t tls_sec_tags_len, const char* device_serial,
                         const char* project_key, uint8_t* data, size_t len) {
  int fd;

  LOG_DBG("Waiting for network.. ");
  int err = lte_lc_init_and_connect();
  if (err) {
    LOG_ERR("Failed to connect to the LTE network, err %d", err);
    return;
  }

  const char* header = createHeader(device_serial, hostname, project_key, len);
  size_t headerLength = strlen(header);

  LOG_DBG("header: %s.", header);

  // TODO check why the sizeof did not work here
  fd = connectToHttps(hostname, tls_sec_tags, tls_sec_tags_len);
  if (fd < 0) goto close_socket;

  int sentBytes = sendData(fd, header, headerLength);
  if (sentBytes < 0) goto close_socket;
  LOG_DBG("Sent %d bytes", sentBytes);

  sentBytes = sendData(fd, data, len);
  if (sentBytes < 0) goto close_socket;
  LOG_DBG("Sent %d bytes", sentBytes);

  handleResponse(fd);

  LOG_DBG("Finished send_memfault_https, closing socket.");

close_socket:
  (void)close(fd);
}
```

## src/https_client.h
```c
#ifndef __HTTPS_CLIENT__
#define __HTTPS_CLIENT__

#include <stdio.h>
#include <string.h>
#include <zephyr.h>

#include <net/socket.h>
#include <net/tls_credentials.h>

#ifdef CONFIG_MEMFAULT
void send_memfault_https(const char* hostname, const int port, sec_tag_t* tls_sec_tags, socklen_t tls_sec_tags_len, const char* device_serial, const char* project_key,
uint8_t* data, size_t len);
int cert_provision(sec_tag_t* tls_sec_tags, const char** certs, size_t len);
#endif

#endif
```

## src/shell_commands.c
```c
#ifdef CONFIG_SHELL

#include <shell/shell.h>

#ifdef CONFIG_MEMFAULT
#include <memfault/core/trace_event.h>
#include <memfault/http/http_client.h>
#include <memfault/metrics/metrics.h>
#include <modem/lte_lc.h>

#include "common/diag.h"
#include "memfault/ports/zephyr/root_cert_storage.h"
#endif

#include <logging/log.h>

#include "adafruit_certificates.h"
#include "common/memory_hook.h"
#include "https_client.h"
#include "mqtt/mqtt_client.h"
#include "utils.h"

LOG_MODULE_REGISTER(shell, CONFIG_HEATY_LOG_LEVEL);

#ifdef CONFIG_MEMFAULT
static int memfault_retrieve_data(const struct shell *shell, size_t argc, char **argv) {
  char *memfaultData;
  while (retrieve_memfault_data_as_base64(&memfaultData)) {
    if (memfaultData) {
      shell_print(
          shell,
          "memfault --project-key CONFIG_MEMFAULT_NCS_PROJECT_KEY post-chunk --encoding base64 %s",
          memfaultData);
    }
    my_free(memfaultData);
  }
  return 0;
}

#include <sys/base64.h>
#define BASE64_ENCODE_LEN(bin_len) (4 * (((bin_len) + 2) / 3))
#define BASE64_DECODE_LEN(bin_len) (((bin_len)*3) / 4)

static int memfault_send_data_test(const struct shell *shell, size_t argc, char **argv) {
  char *memfaultData;
  while (retrieve_memfault_data_as_base64(&memfaultData)) {
    if (memfaultData) {
      uint16_t decoded_data_size = BASE64_DECODE_LEN(strlen(memfaultData));
      uint8_t *decoded_data =
          my_malloc(decoded_data_size, HEAP_MEMORY_STATISTICS_ID_SHELL_HEATMAP_DATA);
      size_t written_size = 0;

      int ret = base64_decode(decoded_data, decoded_data_size, &written_size, memfaultData,
                              strlen(memfaultData));
      if (ret) {
        LOG_ERR("base64_decode error: %d", ret);
      }

      const char *hostname = MEMFAULT_HTTP_GET_CHUNKS_API_HOST();
      const int port = MEMFAULT_HTTP_GET_CHUNKS_API_PORT();
      const char *deviceId = CONFIG_MEMFAULT_NCS_DEVICE_ID;
      const char *projectKey = CONFIG_MEMFAULT_NCS_PROJECT_KEY;

      sec_tag_t tls_sec_tag[] = {
          kMemfaultRootCert_DigicertRootCa,
          kMemfaultRootCert_DigicertRootG2,
          kMemfaultRootCert_CyberTrustRoot,
          kMemfaultRootCert_AmazonRootCa1,
      };

      // TODO test this!!!
      //  certs provisions is done by memfault_zephyr_port_install_root_certs() on startup;
      send_memfault_https(hostname, port, tls_sec_tag, sizeof(tls_sec_tag), deviceId, projectKey,
                          memfaultData, strlen(memfaultData));

      my_free(decoded_data);
    }
    my_free(memfaultData);
  }
  return 0;
}

static int memfault_some_tests(const struct shell *shell, size_t argc, char **argv) {
  ARG_UNUSED(argc);
  ARG_UNUSED(argv);

  memfault_metrics_heartbeat_set_unsigned(MEMFAULT_METRICS_KEY(testMetric), 462);
  memfault_metrics_heartbeat_debug_trigger();

  return 0;
}
#endif

/* The mqtt client struct */
static struct mqtt_client client;

static sec_tag_t adafruit_tls_sec_tag[] = {kAdafruitRootCert_DigicertRootCa,
                                           kAdafruitRootCert_DigicertGeotrustCa,
                                           kAdafruitRootCert_Adafruit};

static struct mqtt_client_info client_info = {
    .brokerHostname = CONFIG_MQTT_BROKER_HOSTNAME,
    .brokerPort = CONFIG_MQTT_BROKER_PORT,
    .clientId = CONFIG_MQTT_CLIENT_ID,
    .userName = CONFIG_MQTT_USER_NAME,
    .password = CONFIG_MQTT_PASSWORD,
    .libtls = CONFIG_MQTT_LIB_TLS,
    .tlsSecTags = adafruit_tls_sec_tag,
    .tlsSecTagsLen = sizeof(adafruit_tls_sec_tag) / sizeof(adafruit_tls_sec_tag[0]),
    .peerVerify = CONFIG_MQTT_TLS_PEER_VERIFY,
    .sessionCaching = CONFIG_MQTT_TLS_SESSION_CACHING,
};

static void mqtt_connected_cb(const int result) { LOG_INF("mqtt_connected_cb %d", result); }

static void mqtt_disconnected_cb(const int result) { LOG_INF("mqtt_disconnected_cb %d", result); }

static void mqtt_received_cb(const int result, const uint8_t *data, const size_t len) {
  if (result != 0) {
    LOG_INF("mqtt_received_cb %d", result);
  } else {
    char buf[len + 1];
    memcpy(buf, data, len);
    buf[len] = 0;
    LOG_INF("mqtt_received_cb %d %s", result, buf);
  }
}

static struct mqtt_client_module_cb mqtt_client_module_callbacs = {
    .mqtt_connected_cb = mqtt_connected_cb,
    .mqtt_disconnected_cb = mqtt_disconnected_cb,
    .mqtt_received_cb = mqtt_received_cb,
};

static int shell_mqtt_client_init(const struct shell *shell, size_t argc, char **argv) {
  mqtt_client_module_init(&client, &client_info, &mqtt_client_module_callbacs);
  return 0;
}

static int shell_mqtt_client_connect(const struct shell *shell, size_t argc, char **argv) {
  mqtt_client_module_connect(&client);
  return 0;
}

static int shell_mqtt_client_disconnect(const struct shell *shell, size_t argc, char **argv) {
  mqtt_client_module_disconnect(&client);
  return 0;
}

static int shell_mqtt_client_subscribe(const struct shell *shell, size_t argc, char **argv) {
  const char *topic = CONFIG_MQTT_TOPIC_HUMIDITY;
  mqtt_client_module_subscribe(&client, topic);
  return 0;
}

static int shell_mqtt_client_data_publish(const struct shell *shell, size_t argc, char **argv) {
  const char *topic = CONFIG_MQTT_TOPIC_TEMPERATURE;
  const char *data = "23";
  mqtt_client_module_data_publish(&client, topic, (uint8_t *)data, strlen(data) + 1);
  return 0;
}

static int connect_lte(const struct shell *shell, size_t argc, char **argv) {
  LOG_DBG("Waiting for network.. ");
  int err = lte_lc_init_and_connect();
  if (err) {
    LOG_ERR("Failed to connect to the LTE network, err %d", err);
    return 1;
  }
  send_led_event(LED_EVENT_CONNECTED);
  return 0;
}

static int echo(const struct shell *shell, size_t argc, char **argv) {
  shell_print(shell, "argc = %d", argc);
  for (size_t cnt = 0; cnt < argc; cnt++) {
    shell_print(shell, "  argv[%d] = %s", cnt, argv[cnt]);
  }

  return 0;
}

static int log_hello(const struct shell *shell, size_t argc, char **argv) {
  LOG_INF("Hello World! %s\n", CONFIG_BOARD);
  LOG_INF("build time: " __DATE__ " " __TIME__);

  return 0;
}

static int test_led(const struct shell *shell, size_t argc, char **argv) {
  send_led_event(LED_TEST_RED);
  k_sleep(K_SECONDS(1));
  send_led_event(LED_TEST_GREEN);
  k_sleep(K_SECONDS(1));
  send_led_event(LED_TEST_BLUE);
  k_sleep(K_SECONDS(1));
  send_led_event(LED_EVENT_WARNING);
  return 0;
}

static int clear_led(const struct shell *shell, size_t argc, char **argv) {
  send_led_event(LED_OFF);
  return 0;
}

#include "mcu_exchange/mcu_exchange_module_event.h"
static const char *mock_heatMapData =
    "{\"type\":1,\"data\":"
    "\"GAE2AUoBVAFeAXIBhgGaAbgBzAHMAcIBuAGuAZABfAFoAVQBSgFAATYBLAEsASwBLAE2ATYBLAEsARgBBAHmADYBVAFo"
    "AYYBmgHCAeoBCAImAjoCOgImAggC6gHCAZoBfAFoAVQBSgFAATYBNgE2AUABQAFAATYBNgE2ASIBBAFKAWgBhgGuAeABEg"
    "JOAoACqAK8ArIClAJsAjAC9AHCAZoBcgFeAUoBQAFAAUABQAFAAUABQAFAAUABNgEsARgBVAF8AaQB4AEcAmwCvAICAzQD"
    "UgNIAxYD2gKUAjoC9AG4AYYBaAFUAUoBQAFAAUABQAFAAUABQAFAAUABNgEsAV4BkAHCAQgCWAK8AioDhAPKA+"
    "gD3gOiA1ID7gKKAiYC4AGkAXIBXgFUAUABQAFAAUABQAFAAUABQAFAAUABNgFoAaQB4AEwAp4CFgOOA/"
    "wDVgR0BGoEJATAA0gD0AJYAv4BuAF8AWgBVAFAAUABQAFAAUABQAFAAUABQAFAATYBaAGkAfQBWALGAlID6ANgBLoE4gTO"
    "BIgEGgSOAwIDgAISAsIBkAFeAUoBQAE2ATYBQAFAAUABQAFAAUABQAE2AWgBpAH0AVgC5AJwAxAEkgT2BB4FCgW6BEIErA"
    "MgA5QCHALMAYYBXgFAATYBLAEsATYBNgFAAUABQAFAAUABNgFKAZAB4AFYAtACZgMGBJIE9gQoBRQFugRCBKwDFgOKAhwC"
    "zAGGAVQBNgEsASwBLAE2ATYBNgFAAUABQAE2ATYBIgFeAbgBHAKoAjQD1ANWBLoE4gTOBIgEEASEA/"
    "gCdgIIArgBcgFAASIBGAEYARgBIgE2ATYBNgE2ATYBNgE2AeYALAF8AeABTgLaAmYD6ANCBGoEYAQaBLYDPgO8Ak4C6gGa"
    "AV4BNgEYAQ4BGAEYASwBLAE2ATYBNgE2ATYBIgGqAOYALAF8AeABYgLaAlIDogPAA8ADmAM+A+"
    "QCdgImAswBhgFKASwBDgEOARgBIgEsATYBNgE2AUABQAE2ASwB\",\"len\":1536}";

static int test_mcuExchange_message_heatMapData(const struct shell *shell, size_t argc,
                                                char **argv) {
  struct mcu_exchange_module_event *event =
      new_mcu_exchange_module_event(strlen(mock_heatMapData) + 1);
  event->type = MCU_EXCHANGE_EVT_DATA_READY;
  memcpy(event->dyndata.data, mock_heatMapData, strlen(mock_heatMapData) + 1);
  EVENT_SUBMIT(event);
  return 0;
}

static int get_memory_stats(const struct shell *shell, size_t argc, char **argv) {
  struct memory_stat_list *stats;
  uint16_t size = getMemoryStats(&stats);
  for (uint16_t i = 0; i < size; i++) {
    shell_print(shell, "%s: %d", get_memory_stat_str(stats[i].id), stats[i].len);
  }
  // exception here not to use my_free
  k_free(stats);
  return 0;
}

#include <sys/reboot.h>
static int reboot(const struct shell *shell, size_t argc, char **argv) {
  sys_reboot(SYS_REBOOT_COLD);
}

#include <arm_math.h>

#include "../../test/testHeatMapData.h"
static int test_arm_stats(const struct shell *shell, size_t argc, char **argv) {
  float32_t val;
  uint32_t index;

  uint16_t size = TESTHEATMAP_DECODED_HEIGHT * TESTHEATMAP_DECODED_WIDTH;

  arm_max_f32((float32_t *)testHeatMapData, size, &val, &index);
  shell_print(shell, "max %f at %d", val, index);

  arm_min_f32((float32_t *)testHeatMapData, size, &val, &index);
  shell_print(shell, "min %f at %d", val, index);

  arm_mean_f32((float32_t *)testHeatMapData, size, &val);
  shell_print(shell, "mean %f", val);

  arm_rms_f32((float32_t *)testHeatMapData, size, &val);
  shell_print(shell, "rms %f", val);

  arm_std_f32((float32_t *)testHeatMapData, size, &val);
  shell_print(shell, "std %f", val);

  arm_var_f32((float32_t *)testHeatMapData, size, &val);
  shell_print(shell, "var %f", val);

  int startX = 2;
  int startY = 3;
  int with = 4;
  int height = 5;

  for (int row = 0; row < 24; ++row) {
    for (int col = 0; col < 32; ++col) {
      //      shell_print(shell, "(%d, %d) = %f", row, col, testHeatMapData[row * 32 + col]);
    }
  }

  int counter = 0;
  float subArray[with * height];

  for (int row = startY; row < startY + height; ++row) {
    for (int col = startX; col < startX + with; ++col) {
      subArray[counter++] = testHeatMapData[row * 32 + col];
    }
  }

  for (int row = 0; row < height; ++row) {
    for (int col = 0; col < with; ++col) {
      shell_print(shell, "S (%d, %d) = %f", row, col, subArray[row * with + col]);
    }
  }

  return 0;
  /*
  void arm_sub_f32	(	const float32_t * 	pSrcA,
                      const float32_t * 	pSrcB,
                      float32_t * 	pDst,
                      uint32_t 	blockSize
                    )

  float32_t arm_cityblock_distance_f32	(	const float32_t * 	pA,
                                          const float32_t * 	pB,
                                          uint32_t 	blockSize
                                          )

  float32_t arm_euclidean_distance_f32	(	const float32_t * 	pA,
                                          const float32_t * 	pB,
                                          uint32_t 	blockSize
                                          )

  void arm_correlate_f32	(	const float32_t * 	pSrcA,
                            uint32_t 	srcALen,
                            const float32_t * 	pSrcB,
                            uint32_t 	srcBLen,
                            float32_t * 	pDst
                            )

  void arm_mat_init_f32	(	arm_matrix_instance_f32 * 	S,
  uint16_t 	nRows,
  uint16_t 	nColumns,
  float32_t * 	pData
  )
  arm_status arm_mat_sub_f32	(	const arm_matrix_instance_f32 * 	pSrcA,
  const arm_matrix_instance_f32 * 	pSrcB,
  arm_matrix_instance_f32 * 	pDst
  )


  */
}

#include "analysis/analysis_impl.h"
static void printHistory(const struct shell *shell) {
  struct ring_buf* gas_stove_stats_history = getHistory_gas_stove();

  struct stats * allStats =  my_malloc(HISTORY_SIZE * sizeof(struct stats), HEAP_MEMORY_STATISTICS_ID_UTILS_HEATMAP_DATA);
  uint32_t size = ring_buf_peek(&gas_stove_stats_history, (uint8_t*) allStats, HISTORY_SIZE * sizeof(struct stats));
  uint32_t entriesCount = size / sizeof(struct stats);
  
  shell_print(shell, "entriesCount=%d", entriesCount);
  for(uint32_t i = 0; i < entriesCount; i++) {
    shell_print(shell, "min[%d]=%f, max[%d]=%f, mean[%d]=%f, var[%d]=%f", i, allStats[i].min, i, allStats[i].max, i, allStats[i].mean, i, allStats[i].var);
  }
  my_free(allStats);
}

static int test_analyze_heatmap(const struct shell *shell, size_t argc, char **argv) {
  uint16_t entriesCount = TESTHEATMAP_DECODED_HEIGHT * TESTHEATMAP_DECODED_WIDTH;
  float *heatMap1 =
      my_malloc(entriesCount * sizeof(float), HEAP_MEMORY_STATISTICS_ID_UTILS_HEATMAP_DATA);
  float *heatMap2 =
      my_malloc(entriesCount * sizeof(float), HEAP_MEMORY_STATISTICS_ID_UTILS_HEATMAP_DATA);
  memcpy(heatMap1, testHeatMapData, entriesCount * sizeof(float));

  analyze_heatmap(heatMap1);
  arm_offset_f32(heatMap1, 5.0, heatMap2, entriesCount);
  printHistory(shell);
  analyze_heatmap(heatMap2);
  arm_offset_f32(heatMap2, 5.0, heatMap1, entriesCount);
  printHistory(shell);
  analyze_heatmap(heatMap1);
  arm_offset_f32(heatMap1, 5.0, heatMap2, entriesCount);
  printHistory(shell);
  analyze_heatmap(heatMap2);
  arm_offset_f32(heatMap2, 5.0, heatMap1, entriesCount);
  printHistory(shell);
  analyze_heatmap(heatMap1);
  arm_offset_f32(heatMap1, 5.0, heatMap2, entriesCount);
  printHistory(shell);
  analyze_heatmap(heatMap2);
  arm_offset_f32(heatMap2, 5.0, heatMap1, entriesCount);
  printHistory(shell);
  analyze_heatmap(heatMap1);
  arm_offset_f32(heatMap1, 5.0, heatMap2, entriesCount);
  printHistory(shell);
  analyze_heatmap(heatMap2);
  arm_offset_f32(heatMap2, 5.0, heatMap1, entriesCount);
  printHistory(shell);
  analyze_heatmap(heatMap1);
  arm_offset_f32(heatMap1, 5.0, heatMap2, entriesCount);
  printHistory(shell);
  analyze_heatmap(heatMap2);
  arm_offset_f32(heatMap2, 5.0, heatMap1, entriesCount);
  printHistory(shell);
  analyze_heatmap(heatMap1);
  arm_offset_f32(heatMap1, 5.0, heatMap2, entriesCount);
  printHistory(shell);
  analyze_heatmap(heatMap2);
  arm_offset_f32(heatMap2, 5.0, heatMap1, entriesCount);
  printHistory(shell);
  analyze_heatmap(heatMap1);
  arm_offset_f32(heatMap1, 5.0, heatMap2, entriesCount);
  printHistory(shell);
  analyze_heatmap(heatMap2);
  arm_offset_f32(heatMap2, 5.0, heatMap1, entriesCount);
  printHistory(shell);
  analyze_heatmap(heatMap1);
  printHistory(shell);
  return 0;
}

SHELL_STATIC_SUBCMD_SET_CREATE(
    sub_appCtrl, SHELL_CMD(echo, NULL, "Echo back the arguments", echo),
    SHELL_CMD(reboot, NULL, "System cold reboot", reboot),
    SHELL_CMD(test_arm_stats, NULL, "System cold reboot", test_arm_stats),
    SHELL_CMD(test_analyze_heatmap, NULL, "System cold reboot", test_analyze_heatmap),
#ifdef CONFIG_MEMFAULT
    SHELL_CMD(memfault_send_data_test, NULL, "Retrieve and send memfault data",
              memfault_send_data_test),
    SHELL_CMD(memfault_retrieve_data, NULL, "Retrieve and log the memfault data",
              memfault_retrieve_data),
    SHELL_CMD(memfault_some_tests, NULL, "Retrieve and log the memfault data", memfault_some_tests),
#endif
    SHELL_CMD(connect_lte, NULL, "connect to lte", connect_lte),
    SHELL_CMD(shell_mqtt_client_init, NULL, "Log hello", shell_mqtt_client_init),
    SHELL_CMD(shell_mqtt_client_connect, NULL, "Log hello", shell_mqtt_client_connect),
    SHELL_CMD(shell_mqtt_client_disconnect, NULL, "Log hello", shell_mqtt_client_disconnect),
    SHELL_CMD(shell_mqtt_client_subscribe, NULL, "Log hello", shell_mqtt_client_subscribe),
    SHELL_CMD(shell_mqtt_client_data_publish, NULL, "Log hello", shell_mqtt_client_data_publish),
    SHELL_CMD(log_hello, NULL, "Log hello", log_hello),
    SHELL_CMD(mock_heatMap_data, NULL, "Log hello", test_mcuExchange_message_heatMapData),
    SHELL_CMD(get_memory_stats, NULL, "Get allocation leftovers", get_memory_stats),
    SHELL_CMD(test_led, NULL, "test led", test_led),
    SHELL_CMD(clear_led, NULL, "clear led", clear_led), SHELL_SUBCMD_SET_END /* Array terminated. */
);
SHELL_CMD_REGISTER(appCtrl, &sub_appCtrl, "Control heaty nrf9160", NULL);

#endif
```
